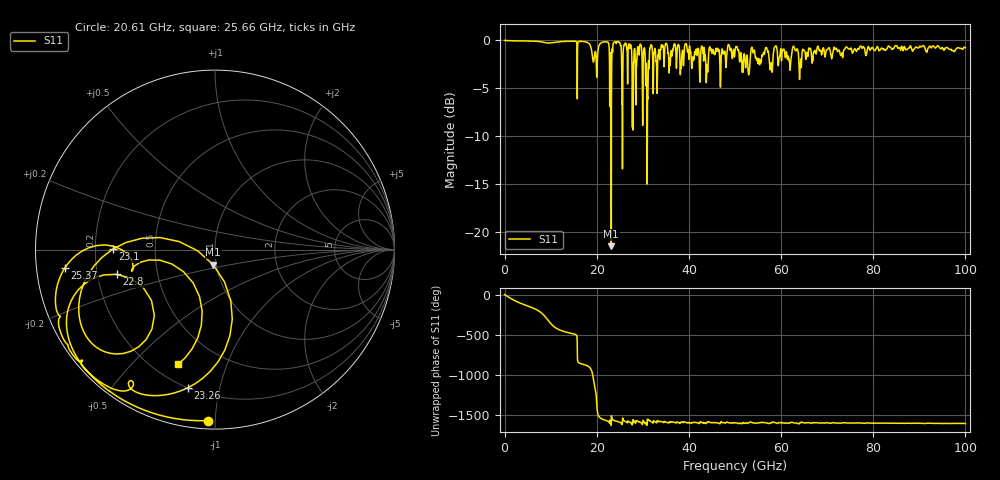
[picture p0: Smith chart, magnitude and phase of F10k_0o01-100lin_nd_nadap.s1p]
! Sonnet Data File
! From: em Version : 18.56
! From Project: F10k_0o1-100lin_nd_nadap
! Data is De-embedded
! Data File Written: 03/10/2023 09:17:25
!< HDATE 03/10/2023 03:31:42
!< MDATE 03/10/2023 03:31:42
# GHZ S MA R 50.00000
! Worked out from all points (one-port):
!   10000 points, 10 MHz to 100 GHz, reference 50 ohm
!   lowest |S11| = -21.4 dB at 23.16 GHz (marker M1), VSWR 1.19, Z = 48.4 - j8.21 ohm
!   |S11| at or under -10 dB: 23.12966 GHz to 23.18199 GHz (52.33 MHz wide, 0.226 % of centre); 25.55951 GHz to 25.60568 GHz (46.17 MHz wide, 0.18 % of centre); 30.90469 GHz to 30.97743 GHz (72.74 MHz wide, 0.235 % of centre)
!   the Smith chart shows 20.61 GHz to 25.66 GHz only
!   S11 on the Smith chart (normalised r, x): 20.61 GHz: 0.05, -0.96; 22.8 GHz: 0.28, -0.11; 23.1 GHz: 0.27, +0.00; 23.26 GHz: 0.20, -0.80; 25.37 GHz: 0.09, -0.06; 25.66 GHz: 0.30, -0.69
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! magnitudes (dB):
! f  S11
! 10 MHz  0.0
! 12.51 GHz  -0.1
! 19.64 GHz  -1.2
! 20.61 GHz  -0.4
! 22.22 GHz  -0.1
! 22.8 GHz  -5.0
! 23.1 GHz  -4.9
! 23.16 GHz  -21.4
! 23.26 GHz  -2.1
! 23.82 GHz  -0.2
! 25.01 GHz  -0.2
! 25.37 GHz  -1.5
! 25.66 GHz  -3.5
! 27.09 GHz  -0.4
! 28.16 GHz  -0.9
! 29.31 GHz  -0.6
! 30.96 GHz  -12.7
! 31.67 GHz  -0.6
! 37.51 GHz  -0.7
! 43.86 GHz  -3.1
! 50.01 GHz  -1.1
! 52.73 GHz  -2.2
! 53.85 GHz  -1.1
! 57.8 GHz  -2.4
! 62.51 GHz  -0.8
! 75.01 GHz  -0.9
! 87.51 GHz  -0.9
! 100 GHz  -0.8
